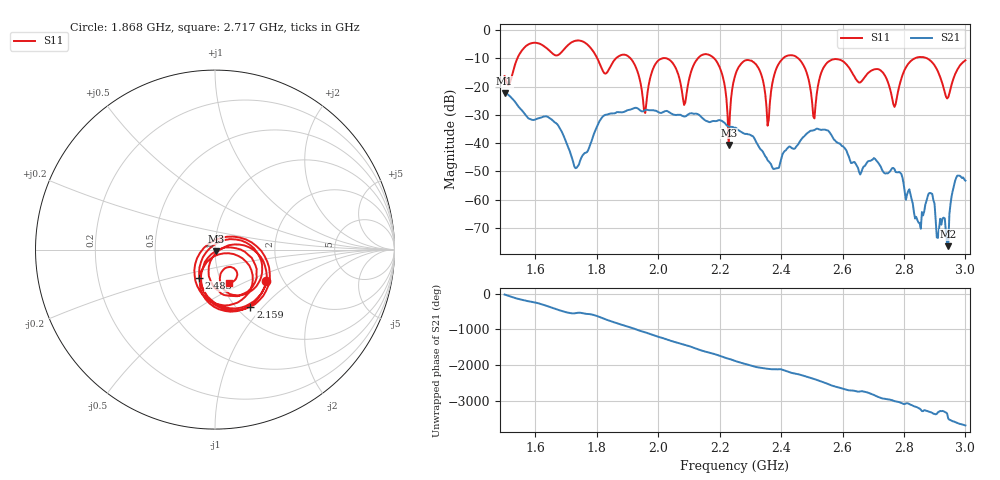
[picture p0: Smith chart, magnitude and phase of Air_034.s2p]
# HZ S RI R 50
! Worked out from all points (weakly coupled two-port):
!   404 points, 1.5 GHz to 3 GHz, reference 50 ohm
!   highest |S21| = -22.28 dB at 1.5 GHz (marker M1); lowest = -76.5 dB at 2.944 GHz (marker M2)
!   lowest |S11| = -40.6 dB at 2.23 GHz (marker M3), VSWR 1.02, Z = 50.5 - j0.814 ohm
!   |S11| at or under -10 dB: 2.182 GHz to 2.406 GHz (223.9 MHz wide, 9.76 % of centre); 2.456 GHz to 2.835 GHz (379 MHz wide, 14.3 % of centre); 2.875 GHz to end of sweep (the widest 3 of 7)
!   S12 and S22 are empty: the file has one direction only
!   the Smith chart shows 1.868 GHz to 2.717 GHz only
!   S11 on the Smith chart (normalised r, x): 1.868 GHz: 1.64, -0.65; 2.159 GHz: 1.15, -0.85; 2.483 GHz: 0.80, -0.26; 2.717 GHz: 1.09, -0.42
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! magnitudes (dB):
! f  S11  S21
! 1.5 GHz  -16.3  -22.3
! 1.753 GHz  -3.9  -44.4
! 1.868 GHz  -9.5  -29.0
! 1.958 GHz  -29.3  -28.3
! 2.002 GHz  -10.5  -29.1
! 2.084 GHz  -26.5  -30.5
! 2.159 GHz  -8.5  -32.2
! 2.23 GHz  -40.6  -34.2
! 2.252 GHz  -15.6  -34.5
! 2.315 GHz  -11.8  -38.7
! 2.356 GHz  -33.8  -46.1
! 2.382 GHz  -14.3  -49.0
! 2.483 GHz  -14.8  -36.7
! 2.501 GHz  -25.8  -35.6
! 2.561 GHz  -10.7  -36.6
! 2.717 GHz  -13.8  -47.1
! 2.751 GHz  -19.3  -50.4
! 2.862 GHz  -9.5  -65.6
! 2.885 GHz  -10.7  -57.6
! 2.944 GHz  -23.8  -76.5
! 2.967 GHz  -15.6  -53.3
! 3 GHz  -10.7  -53.3
